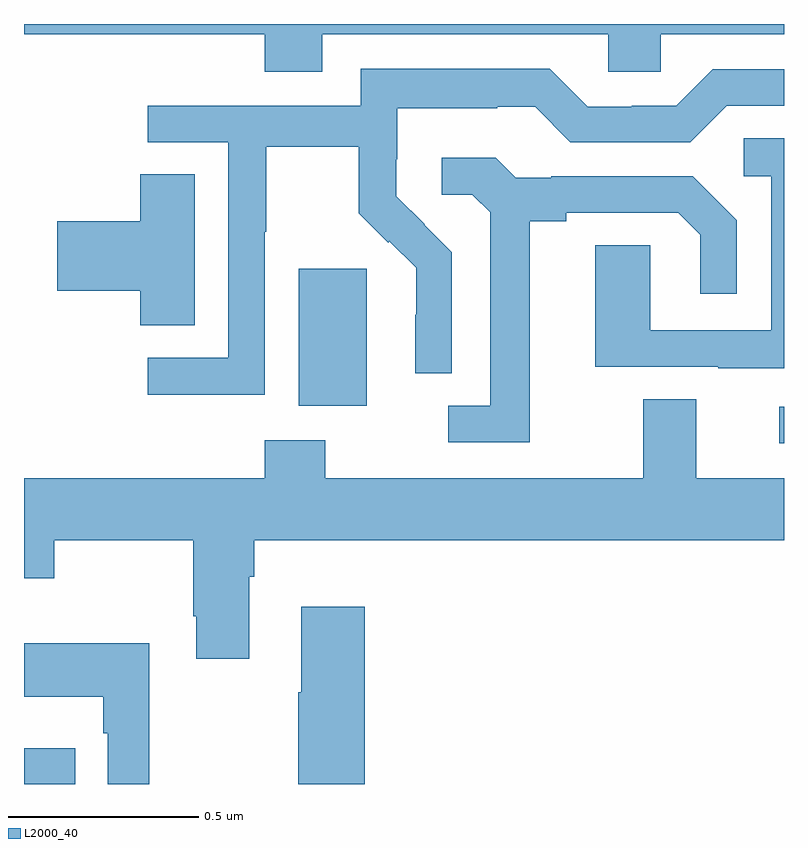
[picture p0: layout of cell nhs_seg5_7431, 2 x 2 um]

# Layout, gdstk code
import gdstk
lib = gdstk.Library(unit=1e-6, precision=1e-09)
def R(c, l, rs):  # rectangles x0, y0, x1, y1
    for r in rs: c.add(gdstk.rectangle(r[:2], r[2:], *l))
def P(c, l, *ps):  # polygons
    for p in ps: c.add(gdstk.Polygon(p, *l))
L2000_40 = (2000, 40)

nhs_seg5_7431 = lib.new_cell('nhs_seg5_7431')
R(nhs_seg5_7431, L2000_40, [(209,842.799,209.135,842.893), (210.987,843.696,211,843.792), (209.723,843.794,209.902,844.155)])
P(nhs_seg5_7431, L2000_40, [(209.785,844.772),(210.537,844.772),(210.537,844.674),(210.675,844.674),(210.675,844.772),(211,844.772),(211,844.799),(209,844.799),(209,844.772),(209.633,844.772),(209.633,844.673),(209.785,844.673)],
  [(209.634,844.252),(209.637,844.252),(209.637,844.476),(209.881,844.476),(209.881,844.301),(209.958,844.224),(209.961,844.227),(210.032,844.157),(210.032,844.034),(210.03,844.034),(210.03,843.88),(210.126,843.88),(210.126,844.198),(210.053,844.271),(210.054,844.272),(209.98,844.346),(209.98,844.443),(209.982,844.443),(209.982,844.577),(210.245,844.577),(210.245,844.581),(210.345,844.581),(210.438,844.488),(210.753,844.488),(210.849,844.584),(211,844.584),(211,844.68),(210.813,844.68),(210.717,844.584),(210.599,844.584),(210.599,844.581),(210.483,844.581),(210.383,844.681),(209.886,844.681),(209.886,844.584),(209.325,844.584),(209.325,844.488),(209.538,844.488),(209.538,843.921),(209.325,843.921),(209.325,843.823),(209.634,843.823)],
  [(211,844.499),(210.894,844.499),(210.894,844.398),(210.966,844.398),(210.966,843.993),(210.648,843.993),(210.648,844.217),(210.503,844.217),(210.503,843.897),(210.827,843.897),(210.827,843.893),(211,843.893)],
  [(210.331,844.28),(210.427,844.28),(210.427,844.302),(210.722,844.302),(210.779,844.245),(210.779,844.089),(210.876,844.089),(210.876,844.282),(210.76,844.398),(210.388,844.398),(210.388,844.395),(210.294,844.395),(210.242,844.447),(210.099,844.447),(210.099,844.35),(210.18,844.35),(210.227,844.303),(210.227,843.795),(210.117,843.795),(210.117,843.699),(210.331,843.699)],
  [(209.449,844.403),(209.306,844.403),(209.306,844.28),(209.088,844.28),(209.088,844.097),(209.306,844.097),(209.306,844.006),(209.449,844.006)],
  [(209.593,843.344),(209.606,843.344),(209.606,843.44),(211,843.44),(211,843.604),(210.769,843.604),(210.769,843.812),(210.629,843.812),(210.629,843.604),(209.793,843.604),(209.793,843.703),(209.633,843.703),(209.633,843.604),(209,843.604),(209,843.341),(209.079,843.341),(209.079,843.44),(209.446,843.44),(209.446,843.241),(209.453,843.241),(209.453,843.129),(209.593,843.129)],
  [(209.897,843.265),(209.729,843.265),(209.729,843.041),(209.722,843.041),(209.722,842.799),(209.897,842.799)],
  [(209.329,843.169),(209,843.169),(209,843.029),(209.208,843.029),(209.208,842.933),(209.22,842.933),(209.22,842.799),(209.329,842.799)])

lib.write_gds('nhs_seg5_7431.gds')
